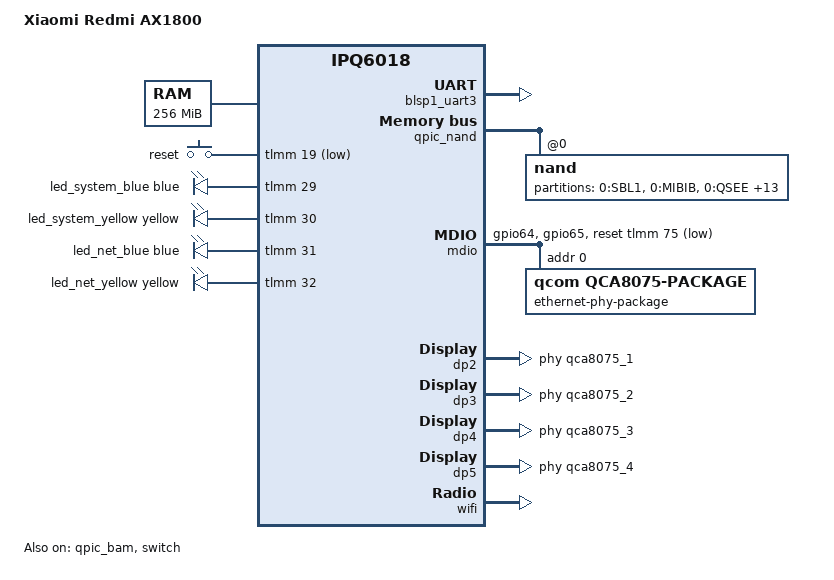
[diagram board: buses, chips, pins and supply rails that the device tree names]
// SPDX-License-Identifier: GPL-2.0-or-later OR MIT

/dts-v1/;

#include "ipq6018-512m.dtsi"
#include "ipq6018-ess.dtsi"

#include <dt-bindings/gpio/gpio.h>
#include <dt-bindings/input/input.h>
#include <dt-bindings/leds/common.h>

/ {
	model = "Xiaomi Redmi AX1800";
	compatible = "xiaomi,ax1800", "qcom,ipq6018";

	aliases {
		label-mac-device = &dp5;
		led-boot = &led_system_yellow;
		led-failsafe = &led_system_yellow;
		led-running = &led_system_blue;
		led-upgrade = &led_system_yellow;
		serial0 = &blsp1_uart3;
	};

	chosen {
		bootargs-append = " root=/dev/ubiblock0_1";
		stdout-path = "serial0:115200n8";
	};

	memory {
		device_type = "memory";
		reg = <0x0 0x40000000 0x0 0x10000000>;
	};

	keys {
		compatible = "gpio-keys";

		reset {
			label = "reset";
			gpios = <&tlmm 19 GPIO_ACTIVE_LOW>;
			linux,code = <KEY_RESTART>;
		};
	};

	leds {
		compatible = "gpio-leds";

		led_system_blue: blue {
			color = <LED_COLOR_ID_BLUE>;
			function = LED_FUNCTION_STATUS;
			gpios = <&tlmm 29 GPIO_ACTIVE_HIGH>;
		};

		led_system_yellow: yellow {
			color = <LED_COLOR_ID_YELLOW>;
			function = LED_FUNCTION_STATUS;
			gpios = <&tlmm 30 GPIO_ACTIVE_HIGH>;
		};

		led_net_blue: net-blue {
			color = <LED_COLOR_ID_BLUE>;
			function = "net";
			gpios = <&tlmm 31 GPIO_ACTIVE_HIGH>;
		};

		led_net_yellow: net-yellow {
			color = <LED_COLOR_ID_YELLOW>;
			function = "net";
			gpios = <&tlmm 32 GPIO_ACTIVE_HIGH>;
		};
	};
};

&tlmm {
	mdio_pins: mdio-pins {
		mdc {
			pins = "gpio64";
			function = "mdc";
			drive-strength = <8>;
			bias-pull-up;
		};

		mdio {
			pins = "gpio65";
			function = "mdio";
			drive-strength = <8>;
			bias-pull-up;
		};
	};
};

&blsp1_uart3 {
	pinctrl-0 = <&serial_3_pins>;
	pinctrl-names = "default";
	status = "okay";
};

&qpic_bam {
	status = "okay";
};

&qpic_nand {
	status = "okay";

	nand@0 {
		reg = <0>;
		nand-bus-width = <8>;
		nand-ecc-strength = <4>;
		nand-ecc-step-size = <512>;

		partitions {
			compatible = "fixed-partitions";
			#address-cells = <1>;
			#size-cells = <1>;

			partition@0 {
				label = "0:SBL1";
				reg = <0x0 0x180000>;
				read-only;
			};

			partition@180000 {
				label = "0:MIBIB";
				reg = <0x180000 0x100000>;
				read-only;
			};

			partition@280000 {
				label = "0:QSEE";
				reg = <0x280000 0x380000>;
				read-only;
			};

			partition@600000 {
				label = "0:DEVCFG";
				reg = <0x600000 0x80000>;
				read-only;
			};

			partition@680000 {
				label = "0:RPM";
				reg = <0x680000 0x80000>;
				read-only;
			};

			partition@700000 {
				label = "0:CDT";
				reg = <0x700000 0x80000>;
				read-only;
			};

			partition@780000 {
				label = "0:APPSBLENV";
				reg = <0x780000 0x80000>;
			};

			partition@800000 {
				label = "0:APPSBL";
				reg = <0x800000 0x180000>;
				read-only;
			};

			partition@980000 {
				label = "0:ART";
				reg = <0x980000 0x80000>;
				read-only;

				nvmem-layout {
					compatible = "fixed-layout";
					#address-cells = <1>;
					#size-cells = <1>;

					macaddr_lan: macaddr@6 {
						reg = <0x6 0x6>;
					};

					macaddr_wan: macaddr@18 {
						reg = <0x18 0x6>;
					};
				};
			};

			partition@a00000 {
				label = "bdata";
				reg = <0xa00000 0x80000>;
				read-only;
			};

			partition@a80000 {
				label = "crash";
				reg = <0xa80000 0x80000>;
				read-only;
			};

			partition@b00000 {
				label = "crash_syslog";
				reg = <0xb00000 0x80000>;
				read-only;
			};

			partition@b80000 {
				label = "rootfs";
				reg = <0xb80000 0x2c80000>;
			};

			partition@3800000 {
				label = "rootfs_1";
				reg = <0x3800000 0x2c80000>;
			};

			partition@6480000 {
				label = "overlay";
				reg = <0x6480000 0x1680000>;
				read-only;
			};

			partition@7b00000 {
				label = "cfg_bak";
				reg = <0x7b00000 0x80000>;
				read-only;
			};
		};
	};
};

&mdio {
	status = "okay";

	pinctrl-0 = <&mdio_pins>;
	pinctrl-names = "default";
	reset-gpios = <&tlmm 75 GPIO_ACTIVE_LOW>;

	ethernet-phy-package@0 {
		compatible = "qcom,qca8075-package";
		#address-cells = <1>;
		#size-cells = <0>;
		reg = <0>;

		qca8075_0: ethernet-phy@0 {
			compatible = "ethernet-phy-ieee802.3-c22";
			reg = <0>;
		};

		qca8075_1: ethernet-phy@1 {
			compatible = "ethernet-phy-ieee802.3-c22";
			reg = <1>;
		};

		qca8075_2: ethernet-phy@2 {
			compatible = "ethernet-phy-ieee802.3-c22";
			reg = <2>;
		};

		qca8075_3: ethernet-phy@3 {
			compatible = "ethernet-phy-ieee802.3-c22";
			reg = <3>;
		};

		qca8075_4: ethernet-phy@4 {
			compatible = "ethernet-phy-ieee802.3-c22";
			reg = <4>;
		};
	};
};

&switch {
	status = "okay";

	switch_lan_bmp = <(ESS_PORT2 | ESS_PORT3 | ESS_PORT4)>;
	switch_wan_bmp = <ESS_PORT5>;
	switch_mac_mode = <MAC_MODE_PSGMII>;

	qcom,port_phyinfo {
		port@2 {
			port_id = <2>;
			phy_address = <1>;
		};

		port@3 {
			port_id = <3>;
			phy_address = <2>;
		};

		port@4 {
			port_id = <4>;
			phy_address = <3>;
		};

		port@5 {
			port_id = <5>;
			phy_address = <4>;
		};
	};
};

&edma {
	status = "okay";
};

&dp2 {
	status = "okay";
	phy-handle = <&qca8075_1>;
	label = "lan1";
	nvmem-cells = <&macaddr_lan>;
	nvmem-cell-names = "mac-address";
};

&dp3 {
	status = "okay";
	phy-handle = <&qca8075_2>;
	label = "lan2";
	nvmem-cells = <&macaddr_lan>;
	nvmem-cell-names = "mac-address";
};

&dp4 {
	status = "okay";
	phy-handle = <&qca8075_3>;
	label = "lan3";
	nvmem-cells = <&macaddr_lan>;
	nvmem-cell-names = "mac-address";
};

&dp5 {
	status = "okay";
	phy-handle = <&qca8075_4>;
	label = "wan";
	nvmem-cells = <&macaddr_wan>;
	nvmem-cell-names = "mac-address";
};

&wifi {
	status = "okay";

	qcom,ath11k-calibration-variant = "Xiaomi-AX1800";
	qcom,ath11k-fw-memory-mode = <1>;
};
